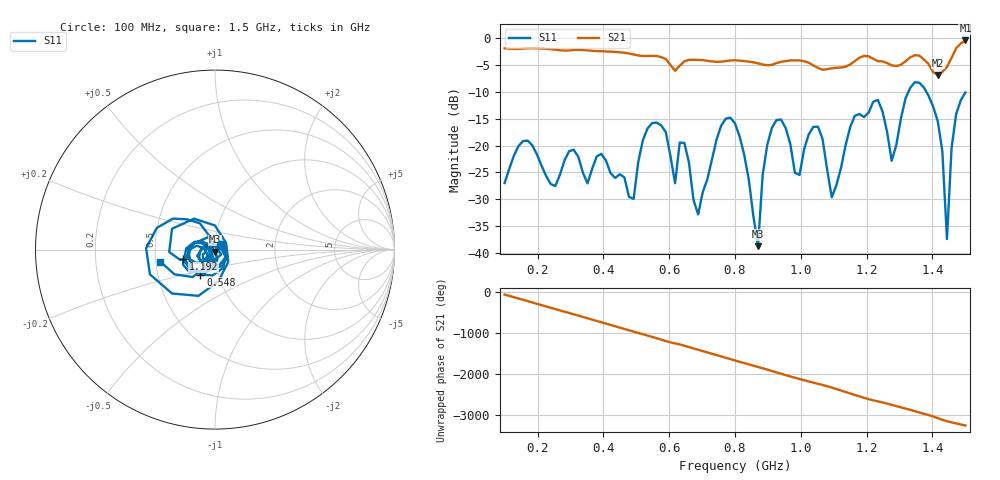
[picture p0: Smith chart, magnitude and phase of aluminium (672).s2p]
! NanoVNA-App
! Date: 2025-09-25 15:00:30
! Start: 100MHz Stop: 1,5GHz Points: 101
! S-Parameter data: F S11 S21 S12 S22
# Hz S RI R 50
!  Frequency  S11_Real  S11_Imag  S21_Real  S21_Imag  S12_Real  S12_Imag  S22_Real  S22_Imag
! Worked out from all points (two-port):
!   101 points, 100 MHz to 1.5 GHz, reference 50 ohm
!   highest |S21| = -0.45 dB at 1.5 GHz (marker M1); lowest = -6.9 dB at 1.416 GHz (marker M2)
!   |S21| within 3 dB of the highest: start of sweep to 569.4 MHz; 1.46 GHz to end of sweep (the widest 2 of 4)
!   lowest |S11| = -38.7 dB at 870 MHz (marker M3), VSWR 1.02, Z = 50.2 - j1.15 ohm
!   |S11| at or under -10 dB: start of sweep to 1.327 GHz; 1.381 GHz to end of sweep
!   S12 and S22 are empty: the file has one direction only
!   S11 on the Smith chart (normalised r, x): 100 MHz: 1.07, +0.06; 548 MHz: 0.82, -0.23; 1.192 GHz: 0.70, -0.08; 1.5 GHz: 0.53, -0.08
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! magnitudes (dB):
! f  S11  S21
! 100 MHz  -27.0  -1.9
! 156 MHz  -19.2  -2.0
! 338 MHz  -25.1  -2.2
! 492 MHz  -29.9  -3.1
! 548 MHz  -15.8  -3.3
! 576 MHz  -16.3  -3.5
! 646 MHz  -19.5  -4.3
! 688 MHz  -32.8  -4.1
! 800 MHz  -15.9  -4.1
! 870 MHz  -38.7  -4.7
! 912 MHz  -16.7  -5.0
! 996 MHz  -25.5  -4.2
! 1.038 GHz  -16.5  -5.1
! 1.094 GHz  -29.6  -5.6
! 1.192 GHz  -14.7  -3.3
! 1.234 GHz  -11.5  -4.3
! 1.276 GHz  -22.8  -5.1
! 1.346 GHz  -8.2  -3.2
! 1.416 GHz  -15.5  -6.9
! 1.444 GHz  -37.4  -5.4
! 1.458 GHz  -20.5  -3.7
! 1.5 GHz  -10.1  -0.5
